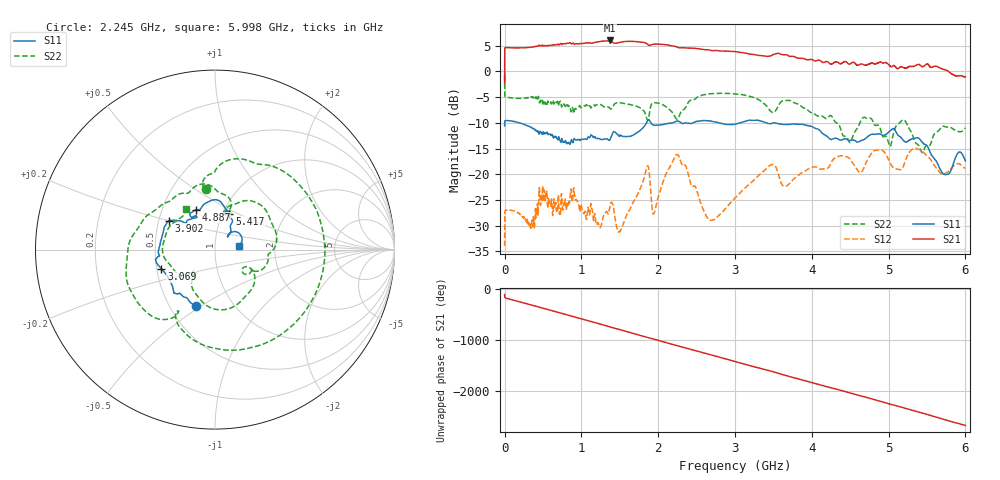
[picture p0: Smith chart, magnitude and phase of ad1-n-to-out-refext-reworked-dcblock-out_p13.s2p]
!  1/12/2021  23:21:20
! Ref Plane: 213.526 mm
# MHZ S MA R  50
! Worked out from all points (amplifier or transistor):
!   10001 points, 300 kHz to 6 GHz, reference 50 ohm
!   highest |S21| = 6.0 dB at 1.367 GHz (marker M1)
!   |S21| within 3 dB of that: 935.8 kHz to 3.363 GHz (3.362 GHz wide, 200 % of centre)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
!   unconditionally stable (mu >= 1): start of sweep to end of sweep
!   at 999.9 MHz: K = 4.29, MAG = 6.5 dB, |S12| = -26.2 dB
!   at 3 GHz: K = 3.32, MAG = 6.1 dB, |S12| = -24.6 dB
!   at 6 GHz: K = 4.51, MAG = -0.6 dB, |S12| = -18.9 dB
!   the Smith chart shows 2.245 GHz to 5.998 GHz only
!   S11 on the Smith chart (normalised r, x): 2.245 GHz: 0.67, -0.47; 3.069 GHz: 0.53, -0.13; 3.902 GHz: 0.57, +0.20; 4.887 GHz: 0.74, +0.35; 5.417 GHz: 1.08, +0.45; 5.998 GHz: 1.31, +0.05
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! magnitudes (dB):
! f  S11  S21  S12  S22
! 300 kHz  -10.6  -2.3  -34.0  -0.7
! 363.9 MHz  -11.0  4.7  -30.2  -4.9
! 521.7 MHz  -11.9  5.0  -23.9  -6.4
! 1 GHz  -13.2  5.4  -26.2  -7.0
! 1.367 GHz  -13.4  6.0  -26.7  -7.1
! 1.506 GHz  -12.4  5.7  -31.0  -6.1
! 1.855 GHz  -9.7  5.4  -18.5  -9.3
! 1.936 GHz  -10.4  5.3  -27.7  -6.1
! 2.001 GHz  -10.4  5.3  -24.5  -6.2
! 2.245 GHz  -9.6  4.8  -16.2  -9.3
! 2.664 GHz  -9.6  4.2  -28.8  -4.4
! 3 GHz  -10.3  3.8  -24.6  -4.4
! 3.069 GHz  -10.0  3.7  -23.6  -4.5
! 3.902 GHz  -10.4  2.5  -19.5  -7.2
! 4 GHz  -10.7  2.3  -18.7  -8.1
! 4.887 GHz  -12.1  1.9  -15.2  -11.0
! 5 GHz  -11.8  1.4  -17.1  -14.0
! 5.195 GHz  -13.5  0.7  -18.3  -9.4
! 5.417 GHz  -13.4  1.2  -15.3  -15.3
! 5.729 GHz  -20.0  0.3  -19.9  -10.7
! 5.998 GHz  -17.3  -1.0  -18.9  -11.0
! 6 GHz  -17.4  -1.0  -18.9  -11.0
